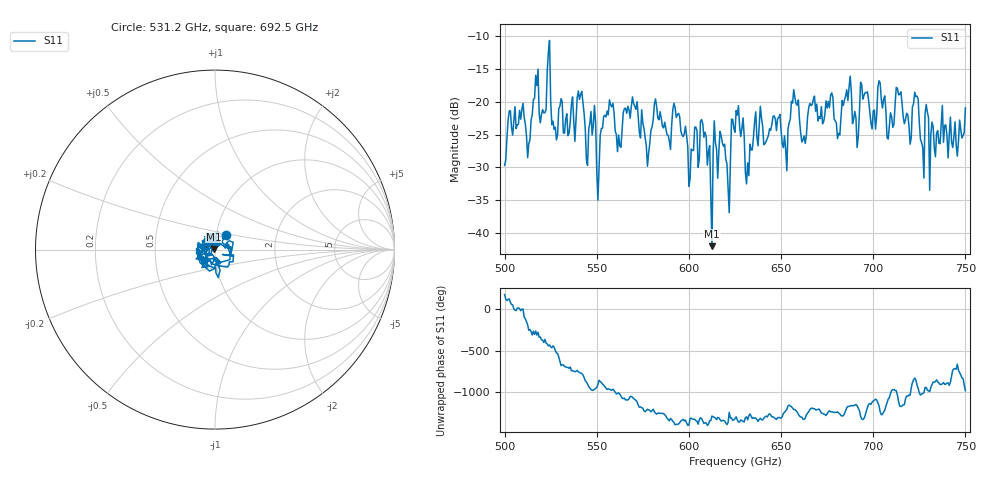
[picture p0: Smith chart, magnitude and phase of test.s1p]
!Created with skrf (http://scikit-rf.org).
# GHz S MA R 50.0
!freq magS11 angS11
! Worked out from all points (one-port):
!   401 points, 500 GHz to 750 GHz, reference 50 ohm
!   lowest |S11| = -42.0 dB at 612.5 GHz (marker M1), VSWR 1.02, Z = 49.3 + j0.311 ohm
!   |S11| at or under -10 dB: start of sweep to end of sweep
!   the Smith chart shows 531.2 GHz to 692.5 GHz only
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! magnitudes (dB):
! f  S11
! 500 GHz  -29.7
! 523.8 GHz  -12.4
! 526.9 GHz  -24.2
! 531.2 GHz  -20.0
! 541.2 GHz  -18.8
! 551.2 GHz  -30.1
! 558.1 GHz  -20.8
! 562.5 GHz  -26.8
! 570.6 GHz  -20.7
! 577.5 GHz  -29.8
! 581.9 GHz  -19.5
! 593.8 GHz  -21.9
! 601.2 GHz  -27.2
! 607.5 GHz  -23.3
! 612.5 GHz  -42.0
! 618.1 GHz  -26.2
! 621.2 GHz  -33.3
! 625 GHz  -24.6
! 631.9 GHz  -29.3
! 637.5 GHz  -26.7
! 651.9 GHz  -25.2
! 656.2 GHz  -20.2
! 662.5 GHz  -25.2
! 666.9 GHz  -20.4
! 680.6 GHz  -25.6
! 687.5 GHz  -16.1
! 718.8 GHz  -22.0
! 750 GHz  -20.9
